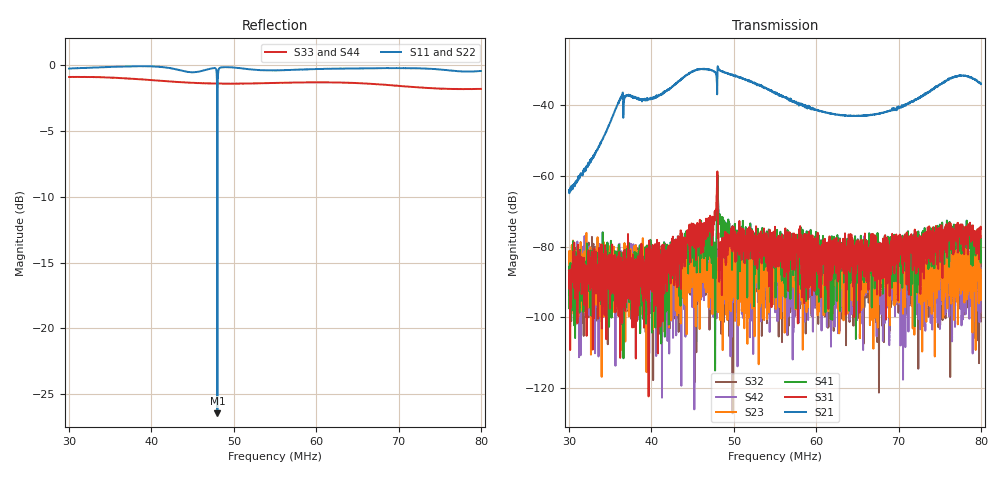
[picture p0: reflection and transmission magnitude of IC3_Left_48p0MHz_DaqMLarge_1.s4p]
#  HZ  S  DB  R  50.00
! Rohde & Schwarz Vector Network Analyzer
! Rohde-Schwarz,ZNB8-4Port,1311601044102961,2.82
! Created: UTC 2/12/2019, 11:08:15 AM
! freq[Hz]  db:S11  ang:S11  db:S12  ang:S12  db:S13  ang:S13  db:S14  ang:S14
!  db:S21  ang:S21  db:S22  ang:S22  db:S23  ang:S23  db:S24  ang:S24
!  db:S31  ang:S31  db:S32  ang:S32  db:S33  ang:S33  db:S34  ang:S34
!  db:S41  ang:S41  db:S42  ang:S42  db:S43  ang:S43  db:S44  ang:S44
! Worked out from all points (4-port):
!   2001 points, 30 MHz to 80 MHz, reference 50 ohm
!   strongest paths, dB at 30 MHz, 42.5 MHz, 55 MHz, 67.5 MHz, 80 MHz:
!     S21: -64.1, -34.9, -36.8, -42.6, -34.2
!     S31: -86.7, -77.8, -74.4, -83.5, -75.1
!     S41: -91.5, -85.2, -74.6, -80.2, -77.9
!     S23: -84.3, -84.2, -84.9, -93.5, -89.7
!     S42: -92.2, -81.8, -84.7, -79.6, -89.8
!     S32: -90.1, -83.0, -80.0, -103.7, -101.1
!   lowest |S11| = -26.4 dB at 48 MHz (marker M1), VSWR 1.10, Z = 49 - j4.62 ohm
!   |S11| at or under -10 dB: 47.98216 MHz to 48.01835 MHz (36.19 kHz wide, 0.0754 % of centre)
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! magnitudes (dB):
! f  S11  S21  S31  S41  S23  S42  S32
! 30 MHz  -0.3  -64.1  -86.7  -91.5  -84.3  -92.2  -90.1
! 36.3 MHz  -0.1  -38.0  -83.1  -101.8  -91.7  -85.7  -93.5
! 47.62 MHz  -0.2  -30.6  -72.9  -84.2  -81.5  -84.8  -82.5
! 48 MHz  -26.4  -33.4  -58.8  -59.7  -91.9  -82.2  -84.1
! 48.4 MHz  -0.2  -30.4  -80.1  -72.5  -85.7  -92.6  -81.0
! 64.3 MHz  -0.3  -43.1  -79.6  -89.5  -95.1  -99.1  -90.1
! 80 MHz  -0.5  -34.2  -75.1  -77.9  -89.7  -89.8  -101.1
